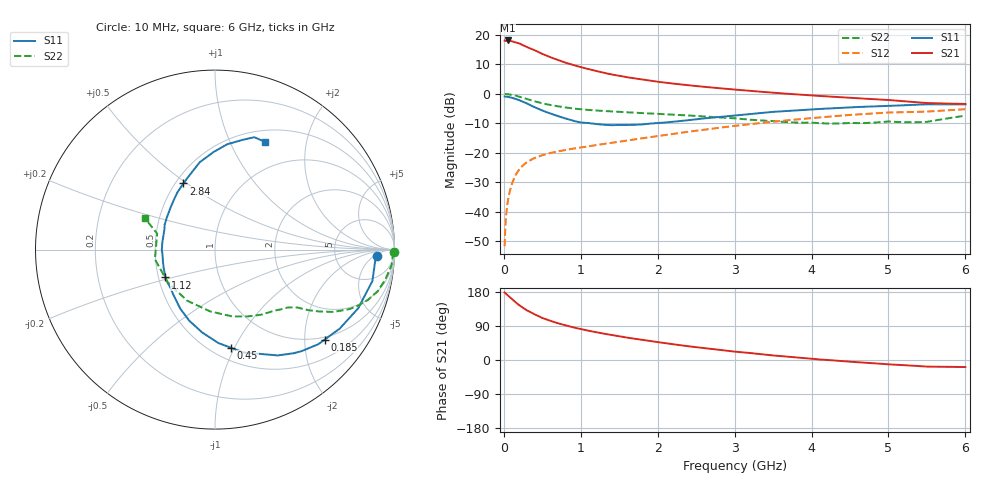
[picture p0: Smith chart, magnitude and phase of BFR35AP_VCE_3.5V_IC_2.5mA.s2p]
! Infineon Technologies  Discrete & RF Semiconductors
! BFR35AP
! VCE =  3.5 V,  IC =  2.5 mA
! Common Emitter S-Parameters:  Nov 2015
# GHz  S  MA  R  50
!  f  S11  S21  S12  S22
! GHz  MAG  ANG  MAG  ANG  MAG  ANG  MAG  ANG
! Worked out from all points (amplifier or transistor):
!   210 points, 10 MHz to 6 GHz, reference 50 ohm
!   highest |S21| = 18.1 dB at 50 MHz (marker M1)
!   |S21| within 3 dB of that: start of sweep to 369.5 MHz
!   unconditionally stable (mu >= 1): 1.077 GHz to 3.737 GHz
!   at 185 MHz: K = 0.25, MSG = 21.7 dB, |S12| = -26.2 dB
!   at 1.52 GHz: K = 1.13, MAG = 8.9 dB, |S12| = -16.2 dB
!   at 6 GHz: K = 0.98, MSG = 0.9 dB, |S12| = -5.2 dB
!   S11 on the Smith chart (normalised r, x): 10 MHz: 17, -6; 185 MHz: 0.93, -2.49; 450 MHz: 0.61, -0.97; 1.12 GHz: 0.54, -0.19; 2.84 GHz: 0.55, +0.49; 6 GHz: 0.64, +1.36
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0.01  0.9011 -2.3  7.984 178.3  0.0026 89.5  0.9966 -0.9
0.025  0.8934 -5.5  7.91 175.2  0.0072 85.4  0.9904 -2.5
0.05  0.8942 -11.3  8.039 170.7  0.0146 83.2  0.9874 -5.1
0.1  0.8623 -22.3  7.824 161.8  0.0283 78.5  0.9635 -10.0
0.15  0.8225 -32.4  7.474 152.4  0.0413 71.8  0.9352 -14.4
0.185  0.7905 -39.4  7.242 147.0  0.0488 68.3  0.9073 -17.1
0.24  0.7437 -49.5  6.754 138.9  0.0594 63.2  0.8636 -20.8
0.3  0.6851 -59.4  6.218 131.0  0.0693 59.5  0.8188 -23.9
0.4  0.5947 -74.5  5.491 120.3  0.0815 54.5  0.7463 -27.7
0.45  0.5541 -80.8  5.106 115.9  0.0861 52.8  0.7163 -28.9
0.54  0.4969 -92.0  4.524 108.1  0.094 50.2  0.6705 -30.9
0.7  0.4209 -110.0  3.76 97.1  0.1053 47.9  0.6148 -33.1
0.88  0.355 -128.0  3.142 87.1  0.1162 47.3  0.5679 -34.8
1.02  0.3246 -141.7  2.793 80.7  0.1237 47.5  0.5432 -36.2
1.12  0.3169 -150.7  2.589 76.5  0.1299 47.8  0.5299 -37.4
1.6  0.2963 171.9  1.911 59.1  0.1611 48.9  0.487 -43.6
2.02  0.3202 147.9  1.589 46.6  0.1942 49.5  0.4558 -50.7
2.84  0.4085 115.5  1.232 26.0  0.2695 46.0  0.3945 -70.6
3.1  0.4391 108.7  1.151 20.3  0.2952 43.7  0.3733 -79.1
4.1  0.5528 89.2  0.921 1.6  0.397 33.1  0.3177 -124.0
5.1  0.6311 75.8  0.767 -12.5  0.4844 18.7  0.3332 -175.6
6  0.6616 65.3  0.673 -18.6  0.5477 7.7  0.4269 156.0
